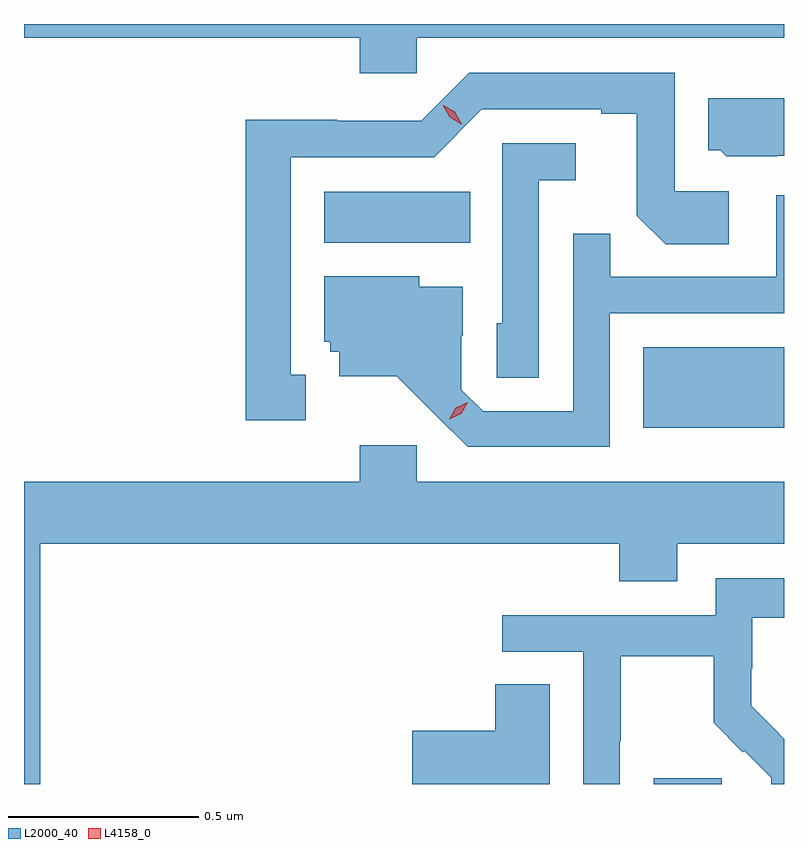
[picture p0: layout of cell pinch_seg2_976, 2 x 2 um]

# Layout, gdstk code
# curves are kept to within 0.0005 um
import gdstk
lib = gdstk.Library(unit=1e-6, precision=1e-09)
def R(c, l, rs):  # rectangles x0, y0, x1, y1
    for r in rs: c.add(gdstk.rectangle(r[:2], r[2:], *l))
def P(c, l, *ps):  # polygons
    for p in ps: c.add(gdstk.Polygon(p, *l))
L2000_40 = (2000, 40)
L4158_0 = (4158, 0)

pinch_seg2_976 = lib.new_cell('pinch_seg2_976')
R(pinch_seg2_976, L2000_40, [(316.061,660.324,316.24,660.339), (316.034,661.262,316.404,661.474), (315.194,661.748,315.578,661.882)])
P(pinch_seg2_976, L2000_40, [(315.438,662.288),(316.404,662.288),(316.404,662.324),(314.404,662.324),(314.404,662.288),(315.287,662.288),(315.287,662.195),(315.438,662.195)],
  [(315.145,661.401),(315.106,661.401),(315.106,661.974),(315.483,661.974),(315.609,662.1),(315.923,662.1),(315.923,662.088),(316.017,662.088),(316.017,661.82),(316.093,661.744),(316.258,661.744),(316.258,661.884),(316.116,661.884),(316.116,662.196),(315.576,662.196),(315.45,662.07),(315.228,662.07),(315.228,662.072),(314.988,662.072),(314.988,661.281),(315.145,661.281)],
  [(316.386,661.977),(316.404,661.977),(316.404,662.128),(316.205,662.128),(316.205,661.992),(316.236,661.992),(316.252,661.976),(316.386,661.976)],
  [(315.759,661.913),(315.856,661.913),(315.856,662.01),(315.663,662.01),(315.663,661.536),(315.648,661.536),(315.648,661.393),(315.759,661.393)],
  [(315.945,661.563),(316.404,661.563),(316.404,661.873),(316.383,661.873),(316.383,661.659),(315.947,661.659),(315.947,661.772),(315.849,661.772),(315.849,661.305),(315.612,661.305),(315.555,661.362),(315.555,661.504),(315.559,661.504),(315.559,661.633),(315.444,661.633),(315.444,661.66),(315.194,661.66),(315.194,661.488),(315.21,661.488),(315.21,661.461),(315.233,661.461),(315.233,661.397),(315.385,661.397),(315.572,661.212),(315.945,661.212)],
  [(314.447,660.956),(315.971,660.956),(315.971,660.857),(316.123,660.857),(316.123,660.956),(316.404,660.956),(316.404,661.12),(315.438,661.12),(315.438,661.216),(315.287,661.216),(315.287,661.12),(314.404,661.12),(314.404,660.324),(314.447,660.324)],
  [(315.972,660.436),(315.975,660.436),(315.975,660.66),(316.219,660.66),(316.219,660.485),(316.296,660.408),(316.299,660.411),(316.37,660.341),(316.37,660.324),(316.404,660.324),(316.404,660.442),(316.391,660.455),(316.392,660.456),(316.318,660.53),(316.318,660.627),(316.32,660.627),(316.32,660.761),(316.404,660.761),(316.404,660.865),(316.224,660.865),(316.224,660.768),(315.663,660.768),(315.663,660.672),(315.876,660.672),(315.876,660.324),(315.972,660.324)],
  [(315.787,660.587),(315.644,660.587),(315.644,660.464),(315.426,660.464),(315.426,660.324),(315.787,660.324)])
P(pinch_seg2_976, L4158_0, [(315.555,662.06),(315.524,662.079),(315.506,662.111),(315.506,662.111),(315.506,662.111),(315.538,662.093),(315.556,662.06),(315.556,662.06)],
  [(315.523,661.284),(315.523,661.284),(315.54,661.314),(315.572,661.329),(315.572,661.329),(315.572,661.329),(315.554,661.299),(315.523,661.284)])

lib.write_gds('pinch_seg2_976.gds')
